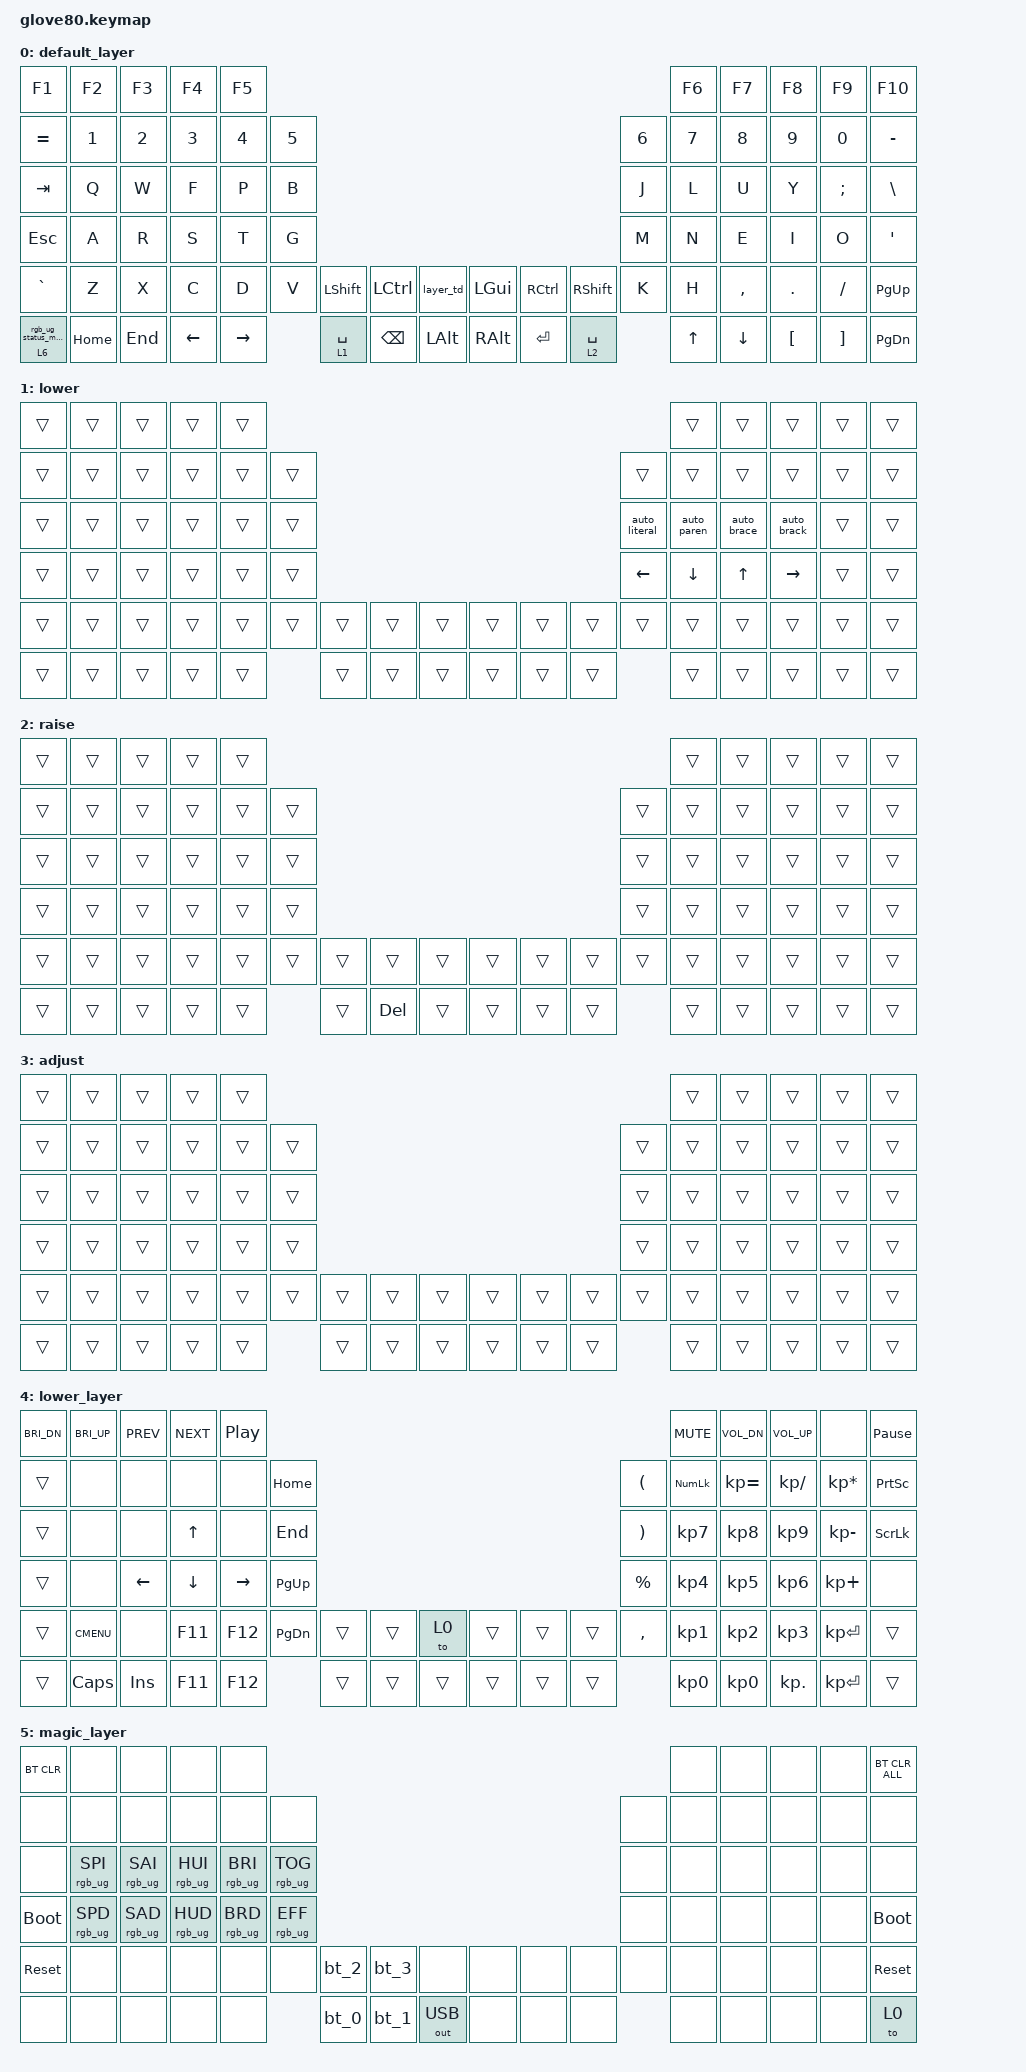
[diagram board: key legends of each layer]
/*
 * Copyright (c) 2020 The ZMK Contributors
 *
 * SPDX-License-Identifier: MIT
 */

#include <behaviors.dtsi>
#include <dt-bindings/zmk/bt.h>
#include <dt-bindings/zmk/keys.h>
#include <dt-bindings/zmk/outputs.h>
#include <dt-bindings/zmk/rgb.h>

#define HYPER LC(LS(LG(LALT)))

// layers

#define DEFAULT 0
#define LOWER 1
#define MAGIC 2
#define FACTORY_TEST 3

/ {
    behaviors {
        // For the "layer" key, it'd nice to be able to use it as either a shift or a toggle.
        // Configure it as a tap dance, so the first tap (or hold) is a &mo and the second tap is a &to

        layer_td: tap_dance_0 {
            compatible = "zmk,behavior-tap-dance";
            label = "LAYER_TAP_DANCE";
            #binding-cells = <0>;
            tapping-term-ms = <200>;
            bindings = <&mo 5>, <&to 5>;
        };

        magic: magic_hold_tap {
            compatible = "zmk,behavior-hold-tap";
            label = "MAGIC_HOLD_TAP";
            #binding-cells = <2>;
            flavor = "tap-preferred";
            tapping-term-ms = <200>;
            bindings = <&mo>, <&rgb_ug_status_macro>;
        };

        jtap_paren: jtap_paren {
            compatible = "zmk,behavior-tap-dance";
            label = "JTAP_PAREN";
            #binding-cells = <0>;
            bindings = <&kp J>, <&auto_paren>;
        };
    };

    macros {
        rgb_ug_status_macro: rgb_ug_status_macro_0 {
            label = "RGB_UG_STATUS";
            compatible = "zmk,behavior-macro";
            #binding-cells = <0>;
            bindings = <&rgb_ug RGB_STATUS>;
        };

        bt_0: bt_profile_macro_0 {
            label = "BT_0";
            compatible = "zmk,behavior-macro";
            #binding-cells = <0>;
            bindings = <&out OUT_BLE &bt BT_SEL 0>;
        };

        bt_1: bt_profile_macro_1 {
            label = "BT_1";
            compatible = "zmk,behavior-macro";
            #binding-cells = <0>;
            bindings = <&out OUT_BLE &bt BT_SEL 1>;
        };

        bt_2: bt_profile_macro_2 {
            label = "BT_2";
            compatible = "zmk,behavior-macro";
            #binding-cells = <0>;
            bindings = <&out OUT_BLE &bt BT_SEL 2>;
        };

        bt_3: bt_profile_macro_3 {
            label = "BT_3";
            compatible = "zmk,behavior-macro";
            #binding-cells = <0>;
            bindings = <&out OUT_BLE &bt BT_SEL 3>;
        };

        auto_paren: auto_paren {
            compatible = "zmk,behavior-macro";
            #binding-cells = <0>;
            bindings = <&kp LPAR &kp RPAR &kp LEFT>;
            label = "AUTO_PAREN";
        };

        auto_brace: auto_brace {
            compatible = "zmk,behavior-macro";
            #binding-cells = <0>;
            bindings = <&kp LEFT_BRACE &kp RIGHT_BRACE &kp LEFT>;
            label = "AUTO_BRACE";
        };

        auto_brack: auto_brack {
            compatible = "zmk,behavior-macro";
            #binding-cells = <0>;
            bindings = <&kp LBKT &kp RBKT &kp LEFT>;
            label = "AUTO_BRACK";
        };

        auto_literal: auto_literal {
            compatible = "zmk,behavior-macro";
            #binding-cells = <0>;
            bindings = <&kp DOLLAR &kp LEFT_BRACE &kp RIGHT_BRACE &kp LEFT>;
            label = "AUTO_LITERAL";
        };
    };

    keymap {
        compatible = "zmk,keymap";

        default_layer {
            // ---------------------------------------------------------------------------------------------------------------------------------
            // |  F1   |  F2 |  F3 |  F4  |  F5  |                                                               |  F6   |  F7   |  F8  |   F9  |  F10 |
            // |  =    |  1  |  2  |  3   |  4   |  5   |                                                 |  6   |   7   |   8   |  9   |   0   |   -  |
            // |  TAB  |  Q  |  W  |  E   |  R   |  T   |                                                 |  Y   |   U   |   I   |  O   |   P   |   \  |
            // |  ESC  |  A  |  S  |  D   |  F   |  G   |                                                 |  H   |   J   |   K   |  L   |   ;   |   '  |
            // |   `   |  Z  |  X  |  C   |  V   |  B   | LSHFT | LCTRL | LOWER | | LGUI  | RCTRL | RSHFT |  N   |   M   |   ,   |  .   |   /   | PGUP |
            // | MAGIC | HOME| END | LEFT | RIGHT|      | BSPC  | DEL   | LALT  | | RALT  | RET   | SPACE |      |  UP   | DOWN  |  [   |   ]   | PGDN |

            bindings = <
&kp F1      &kp F2    &kp F3   &kp F4    &kp F5                                                                                              &kp F6  &kp F7     &kp F8    &kp F9    &kp F10
&kp EQUAL   &kp N1    &kp N2   &kp N3    &kp N4     &kp N5                                                                           &kp N6  &kp N7  &kp N8     &kp N9    &kp N0    &kp MINUS
&kp TAB     &kp Q     &kp W    &kp F     &kp P      &kp B                                                                            &kp J   &kp L   &kp U      &kp Y     &kp SEMI  &kp BSLH
&kp ESC     &kp A     &kp R    &kp S     &kp T      &kp G                                                                            &kp M   &kp N   &kp E      &kp I     &kp O     &kp SQT
&kp GRAVE   &kp Z     &kp X    &kp C     &kp D      &kp V   &kp LSHFT    &kp LCTRL      &layer_td  &kp LGUI  &kp RCTRL  &kp RSHFT    &kp K   &kp H   &kp COMMA  &kp DOT   &kp FSLH  &kp PG_UP
&magic 6 0  &kp HOME  &kp END  &kp LEFT  &kp RIGHT          &lt 1 SPACE  &kp BACKSPACE  &kp LALT   &kp RALT  &kp RET    &lt 2 SPACE          &kp UP  &kp DOWN   &kp LBKT  &kp RBKT  &kp PG_DN
            >;
        };

        lower {
            bindings = <
&trans  &trans  &trans  &trans  &trans                                                                         &trans       &trans       &trans       &trans  &trans
&trans  &trans  &trans  &trans  &trans  &trans                                                  &trans         &trans       &trans       &trans       &trans  &trans
&trans  &trans  &trans  &trans  &trans  &trans                                                  &auto_literal  &auto_paren  &auto_brace  &auto_brack  &trans  &trans
&trans  &trans  &trans  &trans  &trans  &trans                                                  &kp LEFT       &kp DOWN     &kp UP       &kp RIGHT    &trans  &trans
&trans  &trans  &trans  &trans  &trans  &trans  &trans  &trans  &trans  &trans  &trans  &trans  &trans         &trans       &trans       &trans       &trans  &trans
&trans  &trans  &trans  &trans  &trans          &trans  &trans  &trans  &trans  &trans  &trans                 &trans       &trans       &trans       &trans  &trans
            >;
        };

        raise {
            bindings = <
&trans  &trans  &trans  &trans  &trans                                                                   &trans  &trans  &trans  &trans  &trans
&trans  &trans  &trans  &trans  &trans  &trans                                                   &trans  &trans  &trans  &trans  &trans  &trans
&trans  &trans  &trans  &trans  &trans  &trans                                                   &trans  &trans  &trans  &trans  &trans  &trans
&trans  &trans  &trans  &trans  &trans  &trans                                                   &trans  &trans  &trans  &trans  &trans  &trans
&trans  &trans  &trans  &trans  &trans  &trans  &trans  &trans   &trans  &trans  &trans  &trans  &trans  &trans  &trans  &trans  &trans  &trans
&trans  &trans  &trans  &trans  &trans          &trans  &kp DEL  &trans  &trans  &trans  &trans          &trans  &trans  &trans  &trans  &trans
            >;
        };

        adjust {
            bindings = <
&trans  &trans  &trans  &trans  &trans                                                                  &trans  &trans  &trans  &trans  &trans
&trans  &trans  &trans  &trans  &trans  &trans                                                  &trans  &trans  &trans  &trans  &trans  &trans
&trans  &trans  &trans  &trans  &trans  &trans                                                  &trans  &trans  &trans  &trans  &trans  &trans
&trans  &trans  &trans  &trans  &trans  &trans                                                  &trans  &trans  &trans  &trans  &trans  &trans
&trans  &trans  &trans  &trans  &trans  &trans  &trans  &trans  &trans  &trans  &trans  &trans  &trans  &trans  &trans  &trans  &trans  &trans
&trans  &trans  &trans  &trans  &trans          &trans  &trans  &trans  &trans  &trans  &trans          &trans  &trans  &trans  &trans  &trans
            >;
        };

        lower_layer {
            bindings = <
&kp C_BRI_DN  &kp C_BRI_UP  &kp C_PREV  &kp C_NEXT  &kp C_PP                                                                         &kp C_MUTE  &kp C_VOL_DN  &kp C_VOL_UP   &none            &kp PAUSE_BREAK
&trans        &none         &none       &none       &none      &kp HOME                                                   &kp LPAR   &kp KP_NUM  &kp KP_EQUAL  &kp KP_DIVIDE  &kp KP_MULTIPLY  &kp PSCRN
&trans        &none         &none       &kp UP      &none      &kp END                                                    &kp RPAR   &kp KP_N7   &kp KP_N8     &kp KP_N9      &kp KP_MINUS     &kp SLCK
&trans        &none         &kp LEFT    &kp DOWN    &kp RIGHT  &kp PG_UP                                                  &kp PRCNT  &kp KP_N4   &kp KP_N5     &kp KP_N6      &kp KP_PLUS      &none
&trans        &kp K_CMENU   &none       &kp F11     &kp F12    &kp PG_DN  &trans  &trans  &to 0   &trans  &trans  &trans  &kp COMMA  &kp KP_N1   &kp KP_N2     &kp KP_N3      &kp KP_ENTER     &trans
&trans        &kp CAPS      &kp INS     &kp F11     &kp F12               &trans  &trans  &trans  &trans  &trans  &trans             &kp KP_N0   &kp KP_N0     &kp KP_DOT     &kp KP_ENTER     &trans
            >;
        };

        magic_layer {
            bindings = <
&bt BT_CLR   &none            &none            &none            &none                                                                                     &none  &none  &none  &none  &bt BT_CLR_ALL
&none        &none            &none            &none            &none            &none                                                             &none  &none  &none  &none  &none  &none
&none        &rgb_ug RGB_SPI  &rgb_ug RGB_SAI  &rgb_ug RGB_HUI  &rgb_ug RGB_BRI  &rgb_ug RGB_TOG                                                   &none  &none  &none  &none  &none  &none
&bootloader  &rgb_ug RGB_SPD  &rgb_ug RGB_SAD  &rgb_ug RGB_HUD  &rgb_ug RGB_BRD  &rgb_ug RGB_EFF                                                   &none  &none  &none  &none  &none  &bootloader
&sys_reset   &none            &none            &none            &none            &none            &bt_2  &bt_3  &none         &none  &none  &none  &none  &none  &none  &none  &none  &sys_reset
&none        &none            &none            &none            &none                             &bt_0  &bt_1  &out OUT_USB  &none  &none  &none         &none  &none  &none  &none  &to 0
            >;
        };
    };
};
